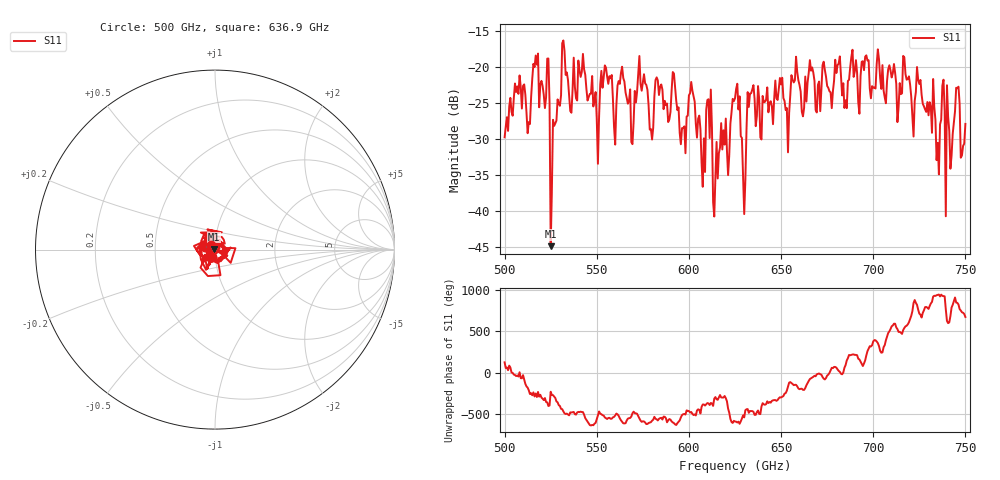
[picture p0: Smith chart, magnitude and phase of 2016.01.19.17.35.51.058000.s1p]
!Created with skrf (http://scikit-rf.org).
# GHz S RI R 50.0
!freq ReS11 ImS11
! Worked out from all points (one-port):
!   401 points, 500 GHz to 750 GHz, reference 50 ohm
!   lowest |S11| = -44.9 dB at 525 GHz (marker M1), VSWR 1.01, Z = 49.6 + j0.416 ohm
!   |S11| at or under -10 dB: start of sweep to end of sweep
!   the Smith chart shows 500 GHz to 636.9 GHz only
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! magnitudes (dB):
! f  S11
! 500 GHz  -29.8
! 506.9 GHz  -22.7
! 513.1 GHz  -27.7
! 516.9 GHz  -18.4
! 523.1 GHz  -18.9
! 525 GHz  -44.9
! 531.2 GHz  -16.7
! 550 GHz  -27.3
! 562.5 GHz  -22.4
! 568.8 GHz  -30.5
! 573.8 GHz  -22.4
! 579.4 GHz  -28.6
! 583.1 GHz  -21.9
! 593.8 GHz  -26.0
! 596.9 GHz  -28.5
! 601.9 GHz  -23.3
! 607.5 GHz  -36.7
! 610.6 GHz  -24.5
! 614.4 GHz  -35.4
! 625 GHz  -24.4
! 629.4 GHz  -35.0
! 633.1 GHz  -23.7
! 656.2 GHz  -21.8
! 687.5 GHz  -20.1
! 718.8 GHz  -21.7
! 735 GHz  -30.6
! 745.6 GHz  -23.0
! 750 GHz  -27.9
